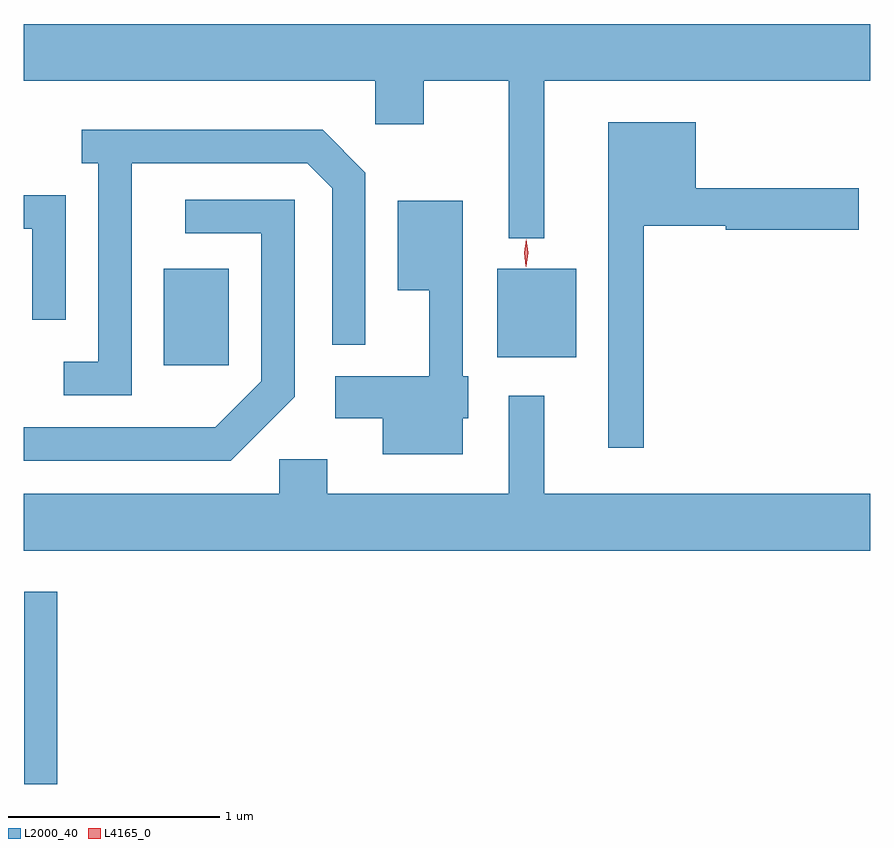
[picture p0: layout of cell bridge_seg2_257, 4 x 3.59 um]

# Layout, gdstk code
import gdstk
lib = gdstk.Library(unit=1e-6, precision=1e-09)
def R(c, l, rs):  # rectangles x0, y0, x1, y1
    for r in rs: c.add(gdstk.rectangle(r[:2], r[2:], *l))
def P(c, l, *ps):  # polygons
    for p in ps: c.add(gdstk.Polygon(p, *l))
L2000_40 = (2000, 40)
L4165_0 = (4165, 0)

bridge_seg2_257 = lib.new_cell('bridge_seg2_257')
R(bridge_seg2_257, L2000_40, [(669.271,1080.514,669.429,1081.423), (669.931,1082.491,670.239,1082.949), (671.506,1082.531,671.879,1082.949)])
P(bridge_seg2_257, L2000_40, [(671.729,1083.836),(673.269,1083.836),(673.269,1084.104),(669.269,1084.104),(669.269,1083.836),(670.931,1083.836),(670.931,1083.631),(671.159,1083.631),(671.159,1083.836),(671.561,1083.836),(671.561,1083.093),(671.729,1083.093)],
  [(672.199,1083.151),(672.586,1083.151),(672.586,1083.131),(673.214,1083.131),(673.214,1083.329),(672.444,1083.329),(672.444,1083.639),(672.031,1083.639),(672.031,1082.103),(672.199,1082.103)],
  [(669.779,1083.446),(670.609,1083.446),(670.726,1083.329),(670.726,1082.588),(670.884,1082.588),(670.884,1083.402),(670.682,1083.604),(669.543,1083.604),(669.543,1083.446),(669.621,1083.446),(669.621,1082.509),(669.458,1082.509),(669.458,1082.351),(669.779,1082.351)],
  [(669.469,1083.294),(669.269,1083.294),(669.269,1083.136),(669.311,1083.136),(669.311,1082.708),(669.469,1082.708)],
  [(670.549,1082.344),(670.549,1083.274),(670.033,1083.274),(670.033,1083.116),(670.391,1083.116),(670.391,1082.417),(670.174,1082.199),(669.269,1082.199),(669.269,1082.041),(670.247,1082.041)],
  [(671.344,1082.241),(671.369,1082.241),(671.369,1082.439),(671.344,1082.439),(671.344,1083.269),(671.036,1083.269),(671.036,1082.846),(671.186,1082.846),(671.186,1082.439),(670.741,1082.439),(670.741,1082.241),(670.966,1082.241),(670.966,1082.071),(671.344,1082.071)],
  [(673.269,1081.884),(671.729,1081.884),(671.729,1082.348),(671.561,1082.348),(671.561,1081.884),(670.704,1081.884),(670.704,1082.049),(670.476,1082.049),(670.476,1081.884),(669.269,1081.884),(669.269,1081.616),(673.269,1081.616)])
P(bridge_seg2_257, L4165_0, [(671.643,1082.958),(671.642,1082.959),(671.633,1083.023),(671.643,1083.087),(671.643,1083.087),(671.644,1083.087),(671.653,1083.023),(671.643,1082.959)])

lib.write_gds('bridge_seg2_257.gds')
